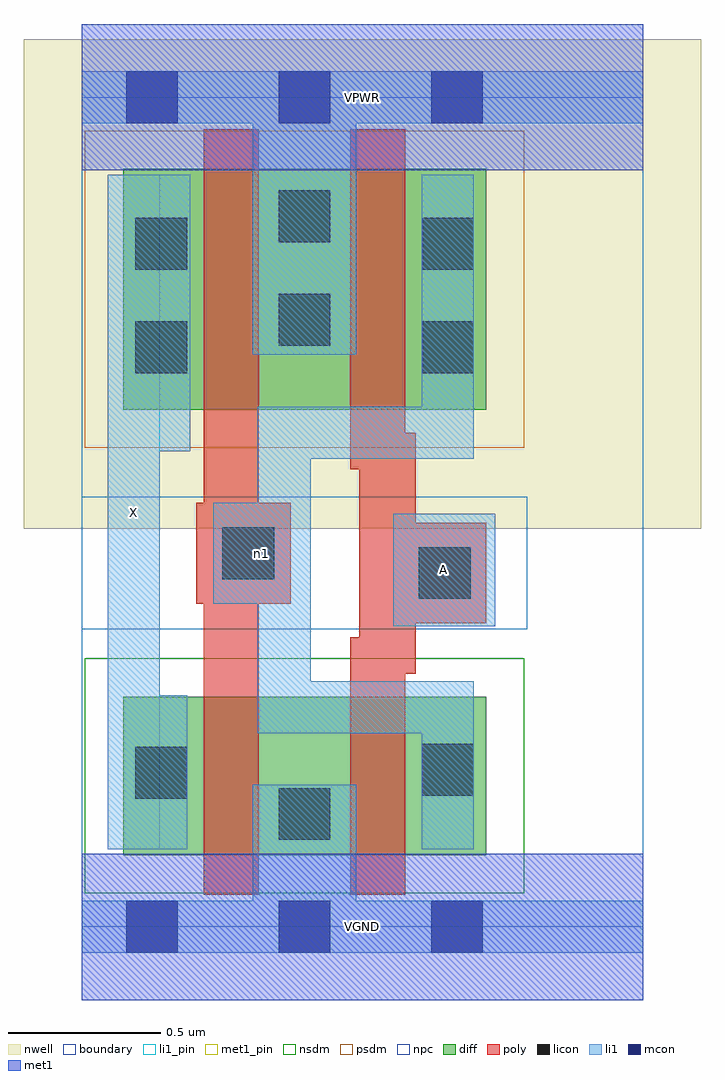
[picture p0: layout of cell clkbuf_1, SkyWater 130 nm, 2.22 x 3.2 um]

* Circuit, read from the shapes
.subckt clkbuf_1 A VGND VPWR X n1
XM1 VGND n1 X VSUBS sky130_fd_pr__nfet_01v8 w=0.52 l=0.18
XM2 n1 A VGND VSUBS sky130_fd_pr__nfet_01v8 w=0.52 l=0.18
XM3 VPWR n1 X n2 sky130_fd_pr__pfet_01v8 w=0.79 l=0.18
XM4 n1 A VPWR n2 sky130_fd_pr__pfet_01v8 w=0.79 l=0.18
.ends

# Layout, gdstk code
import gdstk
lib = gdstk.Library(unit=1e-6, precision=1e-09)
def R(c, l, rs):  # rectangles x0, y0, x1, y1
    for r in rs: c.add(gdstk.rectangle(r[:2], r[2:], *l))
def A(c, l, x, y, w, h, nx, ny, dx, dy):  # array of equal rectangles
    R(c, l, [(x+i*dx, y+j*dy, x+i*dx+w, y+j*dy+h) for i in range(nx) for j in range(ny)])
nwell = (64, 20)
diff = (65, 20)
poly = (66, 20)
licon = (66, 44)
li1_pin = (67, 16)
li1 = (67, 20)
mcon = (67, 44)
met1_pin = (68, 16)
met1 = (68, 20)
nsdm = (93, 44)
psdm = (94, 20)
npc = (95, 20)
boundary = (235, 4)

clkbuf_1 = lib.new_cell('clkbuf_1')
R(clkbuf_1, nwell, [(-0.19,1.305,2.03,2.91), (0,1.305,1.84,2.91)])
R(clkbuf_1, diff, [(0.135,0.235,1.325,0.755), (0.135,1.695,1.325,2.485)])
R(clkbuf_1, poly, [(0.4,0.105,0.58,2.615), (0.88,0.105,1.06,0.95), (0.91,0.83,1.095,1.62), (0.91,0.995,1.325,1.325), (0.375,1.06,0.685,1.39), (0.88,1.5,1.06,2.615)])
R(clkbuf_1, licon, [(0.645,0.285,0.815,0.455), (0.175,0.42,0.345,0.59), (1.115,0.43,1.285,0.6), (1.105,1.075,1.275,1.245), (0.46,1.14,0.63,1.31), (0.175,1.815,0.345,1.985), (1.115,1.815,1.285,1.985), (0.645,1.905,0.815,2.075), (0.175,2.155,0.345,2.325), (1.115,2.155,1.285,2.325), (0.645,2.245,0.815,2.415)])
R(clkbuf_1, li1_pin, [(0.085,0.255,0.255,2.465), (1.02,0.985,1.355,1.355)])
R(clkbuf_1, li1, [(0,-0.085,1.84,0.085), (0.56,-0.085,0.9,0.465), (0.085,0.255,0.255,2.465), (0.085,0.255,0.345,0.76), (1.115,0.255,1.285,0.805), (0.575,0.635,0.75,1.705), (0.575,0.635,1.285,0.805), (1.02,0.985,1.355,1.355), (0.43,1.06,0.75,1.39), (0.575,1.535,1.285,1.705), (1.115,1.535,1.285,2.465), (0.085,1.56,0.355,2.465), (0.56,1.875,0.9,2.805), (0,2.635,1.84,2.805)])
A(clkbuf_1, mcon, 0.145, -0.085, 0.17, 0.17, 3, 2, 0.5, 2.72)
R(clkbuf_1, met1_pin, [(0,-0.24,1.84,0.24), (0,2.48,1.84,2.96)])
R(clkbuf_1, met1, [(0,-0.24,1.84,0.24), (0,2.48,1.84,2.96)])
R(clkbuf_1, nsdm, [(0.01,0.11,1.45,0.88)])
R(clkbuf_1, psdm, [(0.01,1.57,1.45,2.61)])
R(clkbuf_1, npc, [(0,0.975,1.46,1.41)])
R(clkbuf_1, boundary, [(0,0,1.84,2.72)])
clkbuf_1.add(gdstk.Label('A', (1.187,1.17), layer=67, texttype=5))
clkbuf_1.add(gdstk.Label('X', (0.17,1.36), layer=67, texttype=5))
clkbuf_1.add(gdstk.Label('n1', (0.59,1.225), layer=67, texttype=5))
clkbuf_1.add(gdstk.Label('VPWR', (0.92,2.72), layer=68, texttype=5))
clkbuf_1.add(gdstk.Label('VGND', (0.92,0), layer=68, texttype=5))
clkbuf_1.add(gdstk.Label('A', (1.187,1.17), layer=67, texttype=16))
clkbuf_1.add(gdstk.Label('X', (0.17,1.36), layer=67, texttype=16))
clkbuf_1.add(gdstk.Label('VPWR', (0.92,2.72), layer=68, texttype=16))
clkbuf_1.add(gdstk.Label('VGND', (0.92,0), layer=68, texttype=16))

lib.write_gds('clkbuf_1.gds')
